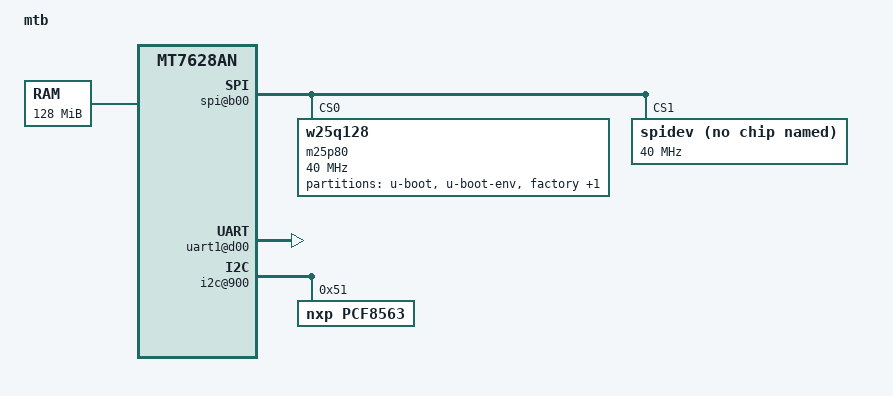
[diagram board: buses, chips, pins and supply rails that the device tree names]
/dts-v1/;

/include/ "mt7628an.dtsi"

/ {
	compatible = "mediatek,mtb", "mediatek,mt7628an-soc";
	model = "mtb";

	chosen {
		bootargs = "console=ttyS0,57600";
	};

	memory@0 {
		device_type = "memory";
		reg = <0x0 0x8000000>;
	};

	pinctrl {
		state_default: pinctrl0 {
			gpio {
				ralink,group = "gpio";
				ralink,function = "gpio";
			};
			perst {
				ralink,group = "perst";
				ralink,function = "gpio";
			};
			refclk {
				ralink,group = "refclk";
				ralink,function = "gpio";
			};
			
			wdt {
				ralink,group = "wdt";
				ralink,function = "wdt";
			};
			i2c {
				ralink,group = "i2c";
				ralink,function = "i2c";
			};
			i2s {
				ralink,group = "i2s";
				ralink,function = "gpio";
			};

		};
	};

	palmbus@10000000 {
		spi@b00 {
			status = "okay";

			pinctrl-names = "default";
			pinctrl-0 = <&spi_pins>, <&spi_cs1_pins>;

			m25p80@0 {
				#address-cells = <1>;
				#size-cells = <1>;
				compatible = "w25q128";
				reg = <0 0>;
				linux,modalias = "m25p80", "w25q128";
				spi-max-frequency = <40000000>;
				m25p,chunked-io = <31>;

				partition@0 {
					label = "u-boot";
					reg = <0x0 0x30000>;
					#read-only;
				};

				partition@30000 {
					label = "u-boot-env";
					reg = <0x30000 0x10000>;
				};

				factory: partition@40000 {
					label = "factory";
					reg = <0x40000 0x10000>;
					#read-only;
				};

				partition@50000 {
					label = "firmware";
					reg = <0x50000 0xfb0000>;
				};
			};

			spidev@1 {
				#address-cells = <1>;
				#size-cells = <1>;
				compatible = "spidev";
				reg = <1 0>;
				spi-max-frequency = <40000000>;
			};
		};

		uart1@d00 {
			status = "okay";
		};
		i2c@900 {
			status = "okay";
			pcf8563: rtc@51 {
				status = "okay";
				compatible = "nxp,pcf8563";
				reg = <0x51>;
            };
		};

	};




	ethernet@10100000 {
		mtd-mac-address = <&factory 0x28>;
	};


};
